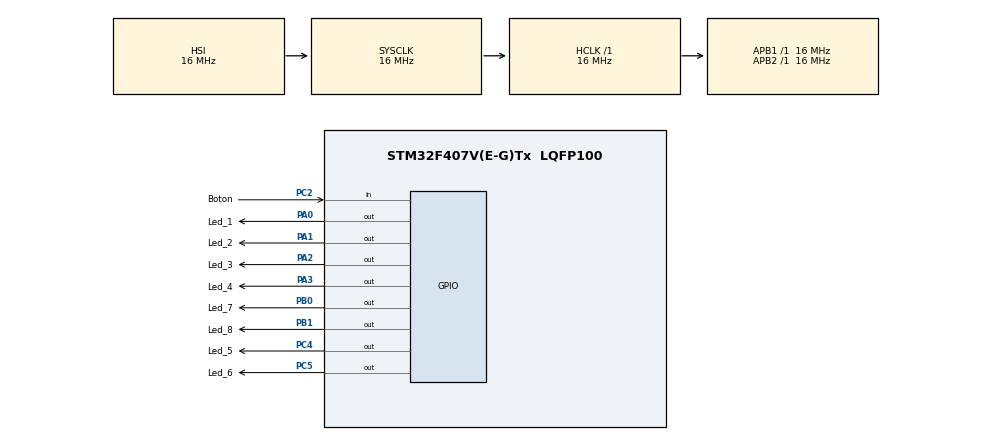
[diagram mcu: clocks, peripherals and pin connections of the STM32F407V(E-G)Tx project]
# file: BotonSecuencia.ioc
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Mcu.Family=STM32F4
Mcu.Name=STM32F407V(E-G)Tx
Mcu.Package=LQFP100
NVIC.PriorityGroup=NVIC_PRIORITYGROUP_4
PA0-WKUP.GPIO_Label=Led_1
PA0-WKUP.PinState=GPIO_PIN_RESET
PA0-WKUP.Signal=GPIO_Output
PA1.GPIO_Label=Led_2
PA1.PinState=GPIO_PIN_RESET
PA1.Signal=GPIO_Output
PA2.GPIO_Label=Led_3
PA2.PinState=GPIO_PIN_RESET
PA2.Signal=GPIO_Output
PA3.GPIO_Label=Led_4
PA3.PinState=GPIO_PIN_RESET
PA3.Signal=GPIO_Output
PB0.GPIO_Label=Led_7
PB0.PinState=GPIO_PIN_RESET
PB0.Signal=GPIO_Output
PB1.GPIO_Label=Led_8
PB1.PinState=GPIO_PIN_RESET
PB1.Signal=GPIO_Output
PC2.GPIO_Label=Boton
PC2.GPIO_PuPd=GPIO_PULLUP
PC2.Signal=GPIO_Input
PC4.GPIO_Label=Led_5
PC4.PinState=GPIO_PIN_RESET
PC4.Signal=GPIO_Output
PC5.GPIO_Label=Led_6
PC5.PinState=GPIO_PIN_RESET
PC5.Signal=GPIO_Output
ProjectManager.HeapSize=0x200
ProjectManager.StackSize=0x400
ProjectManager.TargetToolchain=TrueSTUDIO
RCC.AHBFreq_Value=16000000
RCC.APB1Freq_Value=16000000
RCC.APB2Freq_Value=16000000
RCC.CortexFreq_Value=16000000
RCC.HSE_VALUE=25000000
RCC.HSI_VALUE=16000000
RCC.LSE_VALUE=32768
RCC.SYSCLKFreq_VALUE=16000000
RCC.VCOOutputFreq_Value=192000000
board=BotonSecuencia

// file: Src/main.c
/**
  ******************************************************************************
  * File Name          : main.c
  * Description        : Main program body
  ******************************************************************************
  ** This notice applies to any and all portions of this file
  * that are not between comment pairs USER CODE BEGIN and
  * USER CODE END. Other portions of this file, whether
  * inserted by the user or by software development tools
  * are owned by their respective copyright owners.
  *
  * COPYRIGHT(c) 2017 STMicroelectronics
  *
  * Redistribution and use in source and binary forms, with or without modification,
  * are permitted provided that the following conditions are met:
  *   1. Redistributions of source code must retain the above copyright notice,
  *      this list of conditions and the following disclaimer.
  *   2. Redistributions in binary form must reproduce the above copyright notice,
  *      this list of conditions and the following disclaimer in the documentation
  *      and/or other materials provided with the distribution.
  *   3. Neither the name of STMicroelectronics nor the names of its contributors
  *      may be used to endorse or promote products derived from this software
  *      without specific prior written permission.
  *
  * THIS SOFTWARE IS PROVIDED BY THE COPYRIGHT HOLDERS AND CONTRIBUTORS "AS IS"
  * AND ANY EXPRESS OR IMPLIED WARRANTIES, INCLUDING, BUT NOT LIMITED TO, THE
  * IMPLIED WARRANTIES OF MERCHANTABILITY AND FITNESS FOR A PARTICULAR PURPOSE ARE
  * DISCLAIMED. IN NO EVENT SHALL THE COPYRIGHT HOLDER OR CONTRIBUTORS BE LIABLE
  * FOR ANY DIRECT, INDIRECT, INCIDENTAL, SPECIAL, EXEMPLARY, OR CONSEQUENTIAL
  * DAMAGES (INCLUDING, BUT NOT LIMITED TO, PROCUREMENT OF SUBSTITUTE GOODS OR
  * SERVICES; LOSS OF USE, DATA, OR PROFITS; OR BUSINESS INTERRUPTION) HOWEVER
  * CAUSED AND ON ANY THEORY OF LIABILITY, WHETHER IN CONTRACT, STRICT LIABILITY,
  * OR TORT (INCLUDING NEGLIGENCE OR OTHERWISE) ARISING IN ANY WAY OUT OF THE USE
  * OF THIS SOFTWARE, EVEN IF ADVISED OF THE POSSIBILITY OF SUCH DAMAGE.
  *
  ******************************************************************************
  */
#include "main.h"
#include "stm32f4xx_hal.h"
#include "gpio.h"

/* USER CODE BEGIN PV */
/* Private variables ---------------------------------------------------------*/

/* USER CODE END PV */

void SystemClock_Config(void);

/* USER CODE BEGIN PFP */
/* Private function prototypes -----------------------------------------------*/

/* USER CODE END PFP */

int main(void)
{

  /* MCU Configuration----------------------------------------------------------*/

  /* Reset of all peripherals, Initializes the Flash interface and the Systick. */
  HAL_Init();

  /* Configure the system clock */
  SystemClock_Config();

  /* Initialize all configured peripherals */
  MX_GPIO_Init();

  /* USER CODE BEGIN 2 */

  int contador=0;
  /* USER CODE END 2 */

  /* Infinite loop */
  while (1)
  {

  /* USER CODE BEGIN 3 */
	  //RUTINA ANTI REBOTES

	  while(HAL_GPIO_ReadPin(GPIOC, Boton_Pin)){}
	  	  while(!HAL_GPIO_ReadPin(GPIOC, Boton_Pin)){}///se va a ciclar cuando se ha un cero
	  	HAL_GPIO_WritePin(GPIOA, Led_1_Pin,GPIO_PIN_RESET);
	     		HAL_GPIO_WritePin(GPIOA, Led_2_Pin,GPIO_PIN_RESET);
	     		HAL_GPIO_WritePin(GPIOA, Led_3_Pin,GPIO_PIN_RESET);
	     		HAL_GPIO_WritePin(GPIOA, Led_4_Pin,GPIO_PIN_RESET);
	     	    HAL_GPIO_WritePin(GPIOC, Led_5_Pin,GPIO_PIN_RESET);
	          HAL_GPIO_WritePin(GPIOC, Led_6_Pin,GPIO_PIN_RESET);
	     		HAL_GPIO_WritePin(GPIOB, Led_7_Pin,GPIO_PIN_RESET);
	     		HAL_GPIO_WritePin(GPIOB, Led_8_Pin,GPIO_PIN_RESET);
	  	  contador++;
	  	  switch(contador){

	  	  	case 1:
	  	  		HAL_GPIO_WritePin(GPIOA, Led_1_Pin,GPIO_PIN_SET);

	  	  		break;
	  	  	case 2:

	  	   		HAL_GPIO_WritePin(GPIOA, Led_2_Pin,GPIO_PIN_SET);

	  	  		break;
	  	  	case 3:

	  	   		HAL_GPIO_WritePin(GPIOA, Led_3_Pin,GPIO_PIN_SET);

	  	  		break;
	  	  	case 4:

	  	   		HAL_GPIO_WritePin(GPIOA, Led_4_Pin,GPIO_PIN_SET);

	  	  		break;
	  	  	case 5:

	  	   	    HAL_GPIO_WritePin(GPIOC, Led_5_Pin,GPIO_PIN_SET);

	  	  		break;
	  	  	case 6:

	  	        HAL_GPIO_WritePin(GPIOC, Led_6_Pin,GPIO_PIN_SET);

	  	  		break;
	  	  	case 7:

	  	   		HAL_GPIO_WritePin(GPIOB, Led_7_Pin,GPIO_PIN_SET);

	  	  		break;
	  	  	case 8:

	  	   		HAL_GPIO_WritePin(GPIOB, Led_8_Pin,GPIO_PIN_SET);
    	   		break;
	  	  	case 9:

	  	   		HAL_GPIO_WritePin(GPIOB, Led_7_Pin,GPIO_PIN_SET);

    	   		break;
	  	  	case 10:

	  	        HAL_GPIO_WritePin(GPIOC, Led_6_Pin,GPIO_PIN_SET);

    	   		break;
	  	  	case 11:

	  	   	    HAL_GPIO_WritePin(GPIOC, Led_5_Pin,GPIO_PIN_SET);

    	   		break;

	  	  	case 12:

	  	   		HAL_GPIO_WritePin(GPIOA, Led_4_Pin,GPIO_PIN_SET);

    	   		break;
	  	  	case 13:

	  	   		HAL_GPIO_WritePin(GPIOA, Led_3_Pin,GPIO_PIN_SET);

    	   		break;
	  	  	case 14:
	  	  	HAL_GPIO_WritePin(GPIOA, Led_2_Pin,GPIO_PIN_SET);
    	   		contador=0;
	  	   		break;

	  }
	  	  HAL_Delay(300);///despues del

  }
  /* USER CODE END 3 */

}

/** System Clock Configuration
*/
void SystemClock_Config(void)
{

  RCC_OscInitTypeDef RCC_OscInitStruct;
  RCC_ClkInitTypeDef RCC_ClkInitStruct;

    /**Configure the main internal regulator output voltage
    */
  __HAL_RCC_PWR_CLK_ENABLE();

  __HAL_PWR_VOLTAGESCALING_CONFIG(PWR_REGULATOR_VOLTAGE_SCALE1);

    /**Initializes the CPU, AHB and APB busses clocks
    */
  RCC_OscInitStruct.OscillatorType = RCC_OSCILLATORTYPE_HSI;
  RCC_OscInitStruct.HSIState = RCC_HSI_ON;
  RCC_OscInitStruct.HSICalibrationValue = 16;
  RCC_OscInitStruct.PLL.PLLState = RCC_PLL_NONE;
  if (HAL_RCC_OscConfig(&RCC_OscInitStruct) != HAL_OK)
  {
    _Error_Handler(__FILE__, __LINE__);
  }

    /**Initializes the CPU, AHB and APB busses clocks
    */
  RCC_ClkInitStruct.ClockType = RCC_CLOCKTYPE_HCLK|RCC_CLOCKTYPE_SYSCLK
                              |RCC_CLOCKTYPE_PCLK1|RCC_CLOCKTYPE_PCLK2;
  RCC_ClkInitStruct.SYSCLKSource = RCC_SYSCLKSOURCE_HSI;
  RCC_ClkInitStruct.AHBCLKDivider = RCC_SYSCLK_DIV1;
  RCC_ClkInitStruct.APB1CLKDivider = RCC_HCLK_DIV1;
  RCC_ClkInitStruct.APB2CLKDivider = RCC_HCLK_DIV1;

  if (HAL_RCC_ClockConfig(&RCC_ClkInitStruct, FLASH_LATENCY_0) != HAL_OK)
  {
    _Error_Handler(__FILE__, __LINE__);
  }

    /**Configure the Systick interrupt time
    */
  HAL_SYSTICK_Config(HAL_RCC_GetHCLKFreq()/1000);

    /**Configure the Systick
    */
  HAL_SYSTICK_CLKSourceConfig(SYSTICK_CLKSOURCE_HCLK);

  /* SysTick_IRQn interrupt configuration */
  HAL_NVIC_SetPriority(SysTick_IRQn, 0, 0);
}

void _Error_Handler(char * file, int line)
{
  while(1)
  {
  }
}

/************************ (C) COPYRIGHT STMicroelectronics *****END OF FILE****/
